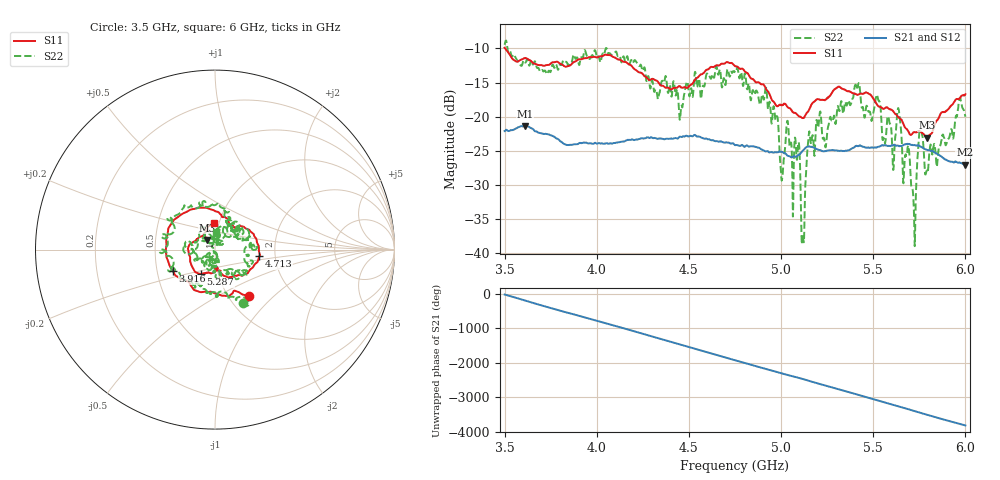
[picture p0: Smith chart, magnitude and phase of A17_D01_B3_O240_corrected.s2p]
! Created with skrf 1.9.0 (http://scikit-rf.org).
# Hz S RI R 50.0
!freq ReS11 ImS11 ReS21 ImS21 ReS12 ImS12 ReS22 ImS22
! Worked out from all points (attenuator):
!   1601 points, 3.5 GHz to 6 GHz, reference 50 ohm
!   highest |S21| = -21.34 dB at 3.611 GHz (marker M1); lowest = -27.0 dB at 5.997 GHz (marker M2)
!   lowest |S11| = -23.0 dB at 5.791 GHz (marker M3), VSWR 1.15, Z = 45.4 + j4.94 ohm
!   |S11| at or under -10 dB: 3.503 GHz to end of sweep
!   |S22| runs from -38.9 to -8.8 dB; largest |S21 - S12| = 0.0012
!   S11 on the Smith chart (normalised r, x): 3.5 GHz: 1.25, -0.71; 3.916 GHz: 0.61, -0.16; 4.713 GHz: 1.65, -0.13; 5.287 GHz: 0.82, -0.23; 6 GHz: 0.95, +0.28
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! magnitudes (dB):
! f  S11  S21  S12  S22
! 3.5 GHz  -9.9  -22.1  -22.1  -9.5
! 3.611 GHz  -11.4  -21.3  -21.4  -12.0
! 3.916 GHz  -11.6  -23.9  -23.9  -11.3
! 3.917 GHz  -11.6  -23.9  -23.9  -11.3
! 4.334 GHz  -15.0  -23.2  -23.2  -17.2
! 4.713 GHz  -12.0  -23.8  -23.8  -13.1
! 4.75 GHz  -12.6  -24.1  -24.1  -13.5
! 4.969 GHz  -18.2  -25.2  -25.2  -20.4
! 5.005 GHz  -18.3  -25.1  -25.1  -29.2
! 5.088 GHz  -19.7  -25.7  -25.7  -25.8
! 5.119 GHz  -20.2  -25.0  -24.9  -37.5
! 5.145 GHz  -19.3  -24.4  -24.3  -23.9
! 5.167 GHz  -18.1  -24.4  -24.4  -23.2
! 5.287 GHz  -16.0  -24.9  -24.9  -19.8
! 5.412 GHz  -16.8  -24.3  -24.3  -15.8
! 5.584 GHz  -18.8  -24.2  -24.2  -20.3
! 5.641 GHz  -20.2  -24.3  -24.3  -19.4
! 5.719 GHz  -22.3  -24.2  -24.1  -32.6
! 5.755 GHz  -22.1  -24.3  -24.3  -22.0
! 5.791 GHz  -23.0  -24.8  -24.8  -27.9
! 5.997 GHz  -16.8  -27.0  -26.9  -19.6
! 6 GHz  -16.7  -27.0  -26.9  -20.0
